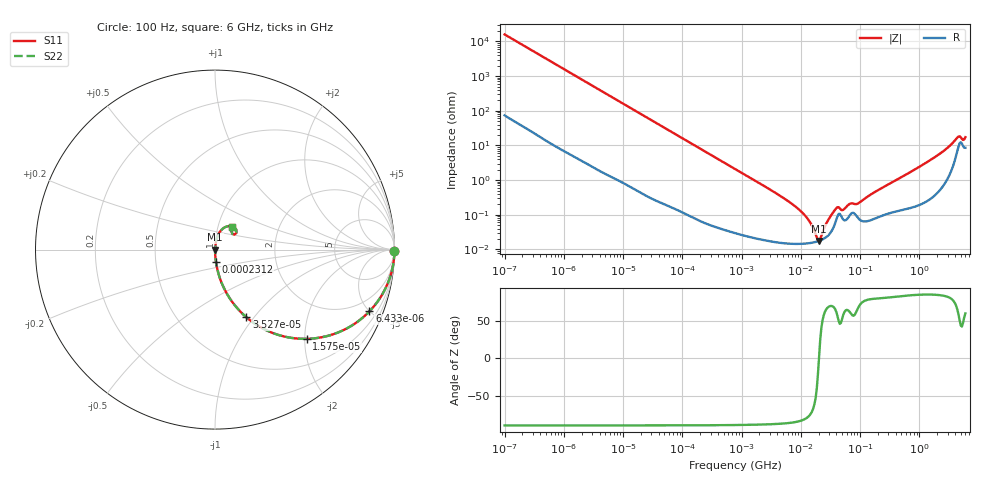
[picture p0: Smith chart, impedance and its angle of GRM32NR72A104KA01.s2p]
!Murata Part Number: GRM32NR72A104KA01
!These Parameters are Measured in Series Mode Connection
!Data Generated on Mar 30, 2021
!  o--ll--o
!Port1  Port2
!  o------o
!Operation Temp=25[degC], DC Bias Voltage=0[V]
!Freq. Start=100[Hz] Stop=6[GHz] 401[Steps]
# Hz S RI R 50
!Freq.(Hz) S11(Real) S11(Imag) S21(Real) S21(Imag) S12(Real) S12(Imag) S22(Real) S22(Imag)
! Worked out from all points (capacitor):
!   401 points, 100 Hz to 6 GHz, reference 50 ohm
!   read as one part in series: C = 100 nF near 109 Hz
!   lowest |Z| = 17.7 mohm at 20.35 MHz (marker M1)
!   series resonance near 20.23 MHz, so ESL is about 620 pH
!   S11 on the Smith chart (normalised r, x): 100 Hz: open; 6.433 kHz: 1.02, -5.00; 15.75 kHz: 1.01, -2.05; 35.27 kHz: 1.01, -0.92; 231.2 kHz: 1.00, -0.14; 6 GHz: 1.17, +0.30
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100  0.9999 -0.00629  6.88e-05 0.00629  6.88e-05 0.00629  0.9999 -0.00629
2008  0.984 -0.1232  0.016 0.1232  0.016 0.1232  0.984 -0.1232
6433  0.8608 -0.3438  0.1392 0.3438  0.1392 0.3438  0.8608 -0.3438
15752  0.5117 -0.4972  0.4883 0.4972  0.4883 0.4972  0.5117 -0.4972
35265  0.175 -0.3772  0.825 0.3772  0.825 0.3772  0.175 -0.3772
40335  0.1399 -0.344  0.8601 0.344  0.8601 0.344  0.1399 -0.344
231233  0.00552 -0.07  0.9945 0.07  0.9945 0.07  0.00552 -0.07
774597  0.000741 -0.0211  0.9993 0.0211  0.9993 0.0211  0.000741 -0.0211
7266822  0.000149 -0.00199  0.9999 0.00199  0.9999 0.00199  0.000149 -0.00199
1.137099e7  0.000148 -0.00101  0.9999 0.00101  0.9999 0.00101  0.000148 -0.00101
1.555665e7  0.000157 -0.000445  0.9998 0.000445  0.9998 0.000445  0.000157 -0.000445
1.86079e7  0.000168 -0.000141  0.9998 0.000141  0.9998 0.000141  0.000168 -0.000141
2.035112e7  0.000177 1.03e-05  0.9998 -1.03e-05  0.9998 -1.03e-05  0.000177 1.03e-05
2.911731e7  0.000257 0.000669  0.9997 -0.000669  0.9997 -0.000669  0.000257 0.000669
3.983537e7  0.00073 0.00138  0.9993 -0.00138  0.9993 -0.00138  0.00073 0.00138
5.211241e7  0.000727 0.00119  0.9993 -0.00119  0.9993 -0.00119  0.000727 0.00119
6.817316e7  0.001 0.00184  0.999 -0.00184  0.999 -0.00184  0.001 0.00184
9.326766e7  0.000797 0.00198  0.9992 -0.00198  0.9992 -0.00198  0.000797 0.00198
3.124326e8  0.00116 0.0077  0.9988 -0.0077  0.9988 -0.0077  0.00116 0.0077
1.873145e9  0.00593 0.0466  0.9941 -0.0466  0.9941 -0.0466  0.00593 0.0466
4.385646e9  0.0837 0.1319  0.9163 -0.1319  0.9163 -0.1319  0.0837 0.1319
6e9  0.0961 0.1254  0.9039 -0.1254  0.9039 -0.1254  0.0961 0.1254
